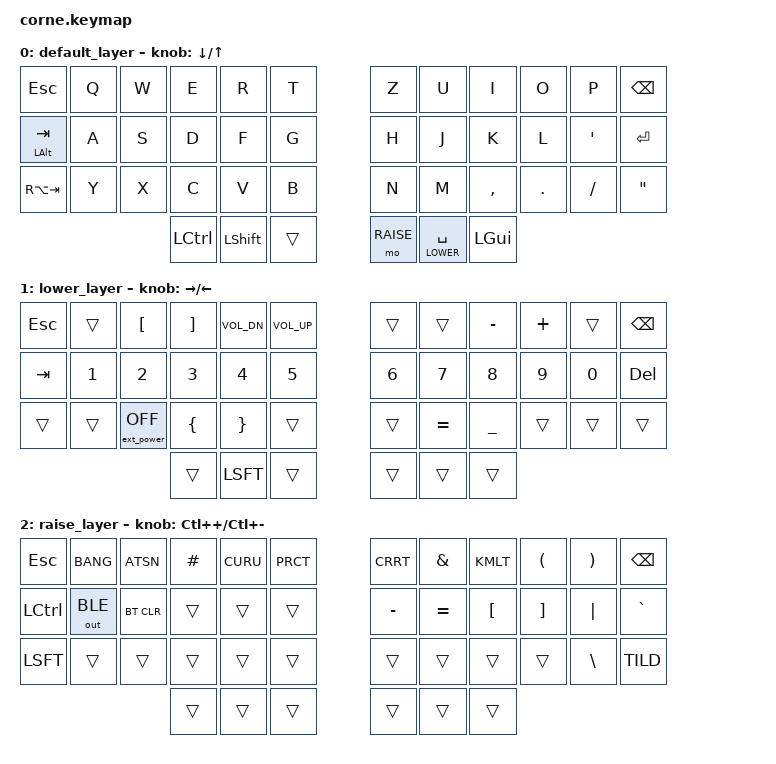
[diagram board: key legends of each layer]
#include <behaviors.dtsi>
#include <dt-bindings/zmk/keys.h>
#include <dt-bindings/zmk/bt.h>
#include <dt-bindings/zmk/rgb.h>
#include <dt-bindings/zmk/ext_power.h>
#include <dt-bindings/zmk/outputs.h>
#define DEFAULT 0
#define LOWER   1
#define RAISE   2

/ {
        keymap {
                compatible = "zmk,keymap";

                default_layer {
// -----------------------------------------------------------------------------------------
// |  TAB |  Q  |  W  |  E  |  R  |  T  |   |  Y  |  U   |  I  |  O  |  P  | BKSP |
// | CTRL |  A  |  S  |  D  |  F  |  G  |   |  H  |  J   |  K  |  L  |  ;  |  '   |
// | SHFT |  Z  |  X  |  C  |  V  |  B  |   |  N  |  M   |  ,  |  .  |  /  | SHFT |
//                    | GUI | LWR | SPC |   | ENT | RSE  | ALT |
                        bindings = <
   &kp ESC  &kp Q &kp W &kp E &kp R &kp T   &kp Z &kp U  &kp I    &kp O   &kp P    &kp BKSP
   &mt LALT TAB &kp A &kp S &kp D &kp F &kp G   &kp H &kp J  &kp K    &kp L   &kp APOS &kp RET
   &kp RA(TAB) &kp Y &kp X &kp C &kp V &kp B   &kp N &kp M  &kp CMMA &kp DOT &kp FSLH &kp DQT
                   &kp LCTRL &kp LSHFT &trans   &mo RAISE &lt LOWER SPACE &kp LGUI
                        >;
                        sensor-bindings = <&inc_dec_cp DOWN_ARROW UP_ARROW>;
                };
                lower_layer {
// -----------------------------------------------------------------------------------------
// |  ESC |  1  |  2  |  3  |  4  |  5  |   |  6  |  7  |  8  |  9  |  0  | BKSP |
// | BTCLR| BT1 | BT2 | BT3 | BT4 | BT5 |   | LFT | DWN |  UP | RGT |     |      |
// | SHFT |     |     |     |     |     |   |     |     |     |     |     |      |
//                    | GUI |     | SPC |   | ENT |     | ALT |
                        bindings = <
   &kp ESC    &trans     &kp LBKT       &kp RBKT     &kp C_VOL_DN   &kp C_VOL_UP         &trans &trans  &kp MINUS &kp PLUS  &trans  &kp BKSP
   &kp TAB     &kp NUM_1    &kp NUM_2    &kp NUM_3    &kp NUM_4    &kp NUM_5         &kp NUM_6 &kp NUM_7 &kp NUM_8 &kp NUM_9 &kp NUM_0 &kp DEL
   &trans   &trans       &ext_power EP_OFF       &kp LBRC       &kp RBRC &trans         &trans    &kp EQUAL  &kp UNDER     &trans  &trans    &trans
                                        &trans     &kp LSFT     &trans           &trans   &trans    &trans
                        >;
                        sensor-bindings = <&inc_dec_cp RIGHT_ARROW LEFT_ARROW>;
                };

                raise_layer {
// -----------------------------------------------------------------------------------------
// |  ESC |  !  |  @  |  #  |  $  |  %  |   |  ^  |  &  |  *  |  (  |  )  | BKSP |
// | CTRL |     |     |     |     |     |   |  -  |  =  |  {  |  }  | "|" |  `   |
// | SHFT |     |     |     |     |     |   |  _  |  +  |  [  |  ]  |  \  |  ~   | // TODO: Fix this row when &mkp is committed
//                    | GUI |     | SPC |   | ENT |     | ALT |
                        bindings = <
   &kp  ESC &kp BANG  &kp ATSN  &kp HASH  &kp CURU  &kp PRCT    &kp CRRT  &kp AMPS &kp KMLT &kp LPRN &kp RPRN &kp BKSP
   &kp LCTL &out OUT_BLE    &bt BT_CLR    &trans    &trans    &trans      &kp MINUS &kp EQL  &kp LBKT &kp RBKT &kp PIPE &kp GRAV
   &kp LSFT &trans    &trans    &trans    &trans    &trans      &trans    &trans   &trans   &trans   &kp BSLH &kp TILD
                                      &trans &trans &trans   &trans &trans &trans
                        >;
                        sensor-bindings = <&inc_dec_cp LC(PLUS) LC(MINUS)>;
                };
        };
};


